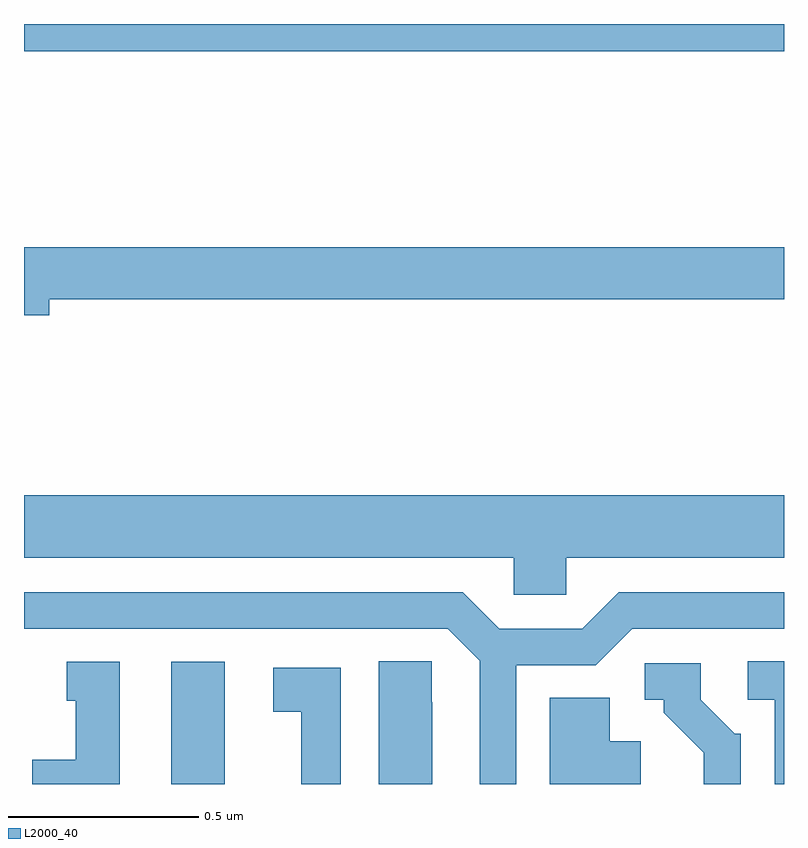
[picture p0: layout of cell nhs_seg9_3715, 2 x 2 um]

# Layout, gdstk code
import gdstk
lib = gdstk.Library(unit=1e-6, precision=1e-09)
def R(c, l, rs):  # rectangles x0, y0, x1, y1
    for r in rs: c.add(gdstk.rectangle(r[:2], r[2:], *l))
def P(c, l, *ps):  # polygons
    for p in ps: c.add(gdstk.Polygon(p, *l))
L2000_40 = (2000, 40)

nhs_seg9_3715 = lib.new_cell('nhs_seg9_3715')
R(nhs_seg9_3715, L2000_40, [(157.388,1186.5,157.528,1186.822), (157,1188.428,159,1188.5)])
P(nhs_seg9_3715, L2000_40, [(157.066,1187.776),(159,1187.776),(159,1187.912),(157,1187.912),(157,1187.734),(157.066,1187.734)],
  [(158.427,1187.096),(159,1187.096),(159,1187.26),(157,1187.26),(157,1187.096),(158.289,1187.096),(158.289,1186.998),(158.427,1186.998)],
  [(158.295,1186.812),(158.505,1186.812),(158.601,1186.908),(159,1186.908),(159,1187.004),(158.565,1187.004),(158.469,1186.908),(158.251,1186.908),(158.155,1187.004),(157,1187.004),(157,1186.908),(158.115,1186.908),(158.199,1186.824),(158.199,1186.5),(158.295,1186.5)],
  [(159,1186.823),(158.904,1186.823),(158.904,1186.722),(158.976,1186.722),(158.976,1186.5),(159,1186.5)],
  [(158.074,1186.715),(158.073,1186.715),(158.073,1186.823),(157.934,1186.823),(157.934,1186.5),(158.074,1186.5)],
  [(157.252,1186.822),(157.112,1186.822),(157.112,1186.719),(157.136,1186.719),(157.136,1186.564),(157.022,1186.564),(157.022,1186.5),(157.252,1186.5)],
  [(158.886,1186.632),(158.871,1186.632),(158.781,1186.722),(158.781,1186.818),(158.634,1186.818),(158.634,1186.722),(158.684,1186.722),(158.684,1186.687),(158.789,1186.582),(158.789,1186.5),(158.886,1186.5)],
  [(157.834,1186.806),(157.656,1186.806),(157.656,1186.69),(157.73,1186.69),(157.73,1186.5),(157.834,1186.5)],
  [(158.623,1186.612),(158.542,1186.612),(158.542,1186.727),(158.384,1186.727),(158.384,1186.5),(158.623,1186.5)])

lib.write_gds('nhs_seg9_3715.gds')
